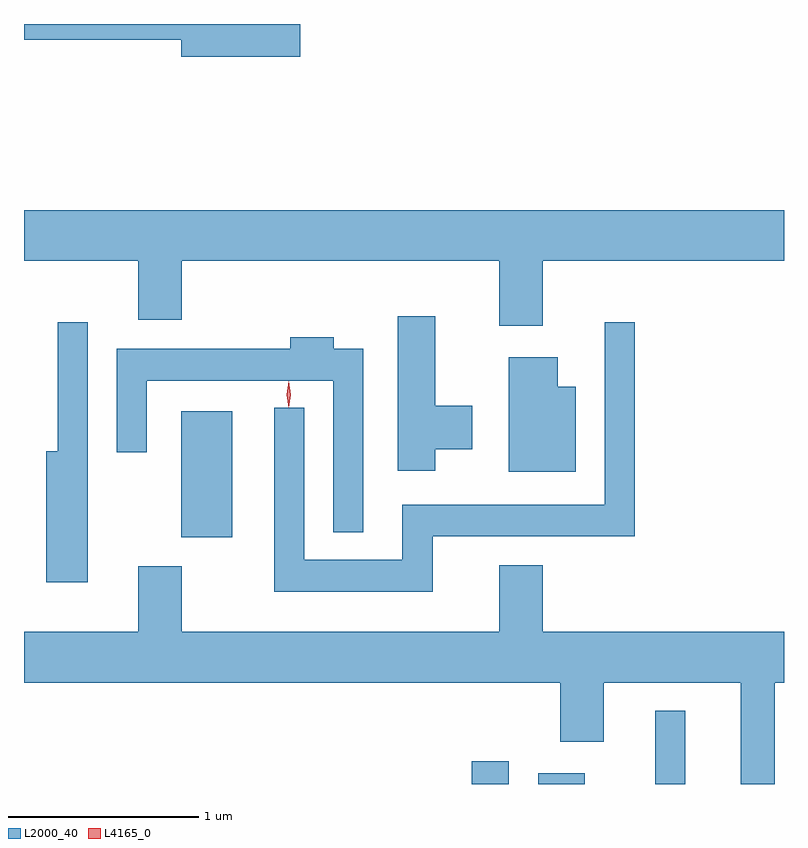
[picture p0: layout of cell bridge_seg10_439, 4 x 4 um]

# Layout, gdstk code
import gdstk
lib = gdstk.Library(unit=1e-6, precision=1e-09)
def R(c, l, rs):  # rectangles x0, y0, x1, y1
    for r in rs: c.add(gdstk.rectangle(r[:2], r[2:], *l))
def P(c, l, *ps):  # polygons
    for p in ps: c.add(gdstk.Polygon(p, *l))
L2000_40 = (2000, 40)
L4165_0 = (4165, 0)

bridge_seg10_439 = lib.new_cell('bridge_seg10_439')
R(bridge_seg10_439, L2000_40, [(1430.396,2131.143,1430.589,2131.264), (1430.746,2131.143,1430.989,2131.199), (1431.361,2131.143,1431.519,2131.528), (1428.866,2132.441,1429.134,2133.104)])
P(bridge_seg10_439, L2000_40, [(1429.494,2135.143),(1428.039,2135.143),(1428.039,2135.061),(1428.866,2135.061),(1428.866,2134.971),(1429.494,2134.971)],
  [(1430.769,2133.896),(1432.039,2133.896),(1432.039,2134.164),(1428.039,2134.164),(1428.039,2133.896),(1428.641,2133.896),(1428.641,2133.586),(1428.869,2133.586),(1428.869,2133.896),(1430.541,2133.896),(1430.541,2133.556),(1430.769,2133.556)],
  [(1430.204,2132.906),(1430.399,2132.906),(1430.399,2133.134),(1430.204,2133.134),(1430.204,2133.604),(1430.006,2133.604),(1430.006,2132.791),(1430.204,2132.791)],
  [(1428.374,2133.573),(1428.216,2133.573),(1428.216,2132.894),(1428.156,2132.894),(1428.156,2132.206),(1428.374,2132.206)],
  [(1430.189,2132.446),(1431.254,2132.446),(1431.254,2133.573),(1431.096,2133.573),(1431.096,2132.614),(1430.031,2132.614),(1430.031,2132.324),(1429.514,2132.324),(1429.514,2133.123),(1429.356,2133.123),(1429.356,2132.156),(1430.189,2132.156)],
  [(1429.824,2133.434),(1429.669,2133.434),(1429.669,2133.494),(1429.441,2133.494),(1429.441,2133.434),(1428.526,2133.434),(1428.526,2132.888),(1428.684,2132.888),(1428.684,2133.266),(1429.666,2133.266),(1429.666,2132.468),(1429.824,2132.468)],
  [(1430.944,2133.234),(1430.849,2133.234),(1430.849,2133.389),(1430.591,2133.389),(1430.591,2132.786),(1430.944,2132.786)],
  [(1431.989,2131.676),(1432.039,2131.676),(1432.039,2131.944),(1430.769,2131.944),(1430.769,2132.294),(1430.541,2132.294),(1430.541,2131.944),(1428.869,2131.944),(1428.869,2132.289),(1428.641,2132.289),(1428.641,2131.944),(1428.039,2131.944),(1428.039,2131.676),(1430.861,2131.676),(1430.861,2131.366),(1431.089,2131.366),(1431.089,2131.676),(1431.811,2131.676),(1431.811,2131.143),(1431.989,2131.143)])
P(bridge_seg10_439, L4165_0, [(1429.432,2133.124),(1429.432,2133.124),(1429.422,2133.193),(1429.432,2133.262),(1429.432,2133.263),(1429.433,2133.262),(1429.442,2133.193),(1429.433,2133.124)])

lib.write_gds('bridge_seg10_439.gds')
